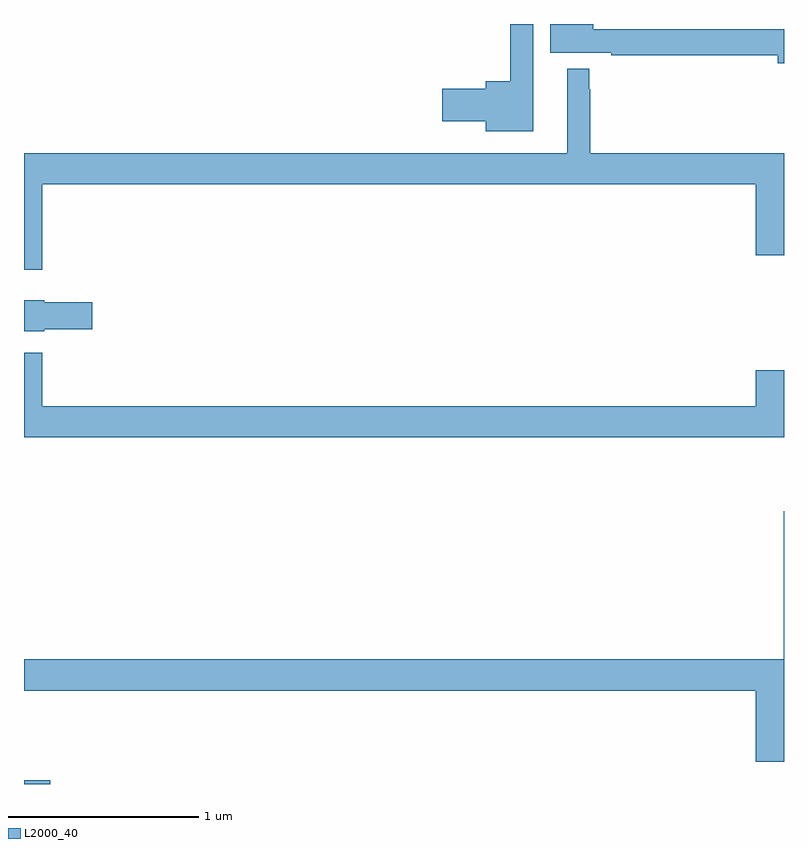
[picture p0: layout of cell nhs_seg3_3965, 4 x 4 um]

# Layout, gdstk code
import gdstk
lib = gdstk.Library(unit=1e-6, precision=1e-09)
def R(c, l, rs):  # rectangles x0, y0, x1, y1
    for r in rs: c.add(gdstk.rectangle(r[:2], r[2:], *l))
def P(c, l, *ps):  # polygons
    for p in ps: c.add(gdstk.Polygon(p, *l))
L2000_40 = (2000, 40)

nhs_seg3_3965 = lib.new_cell('nhs_seg3_3965')
R(nhs_seg3_3965, L2000_40, [(317,724.4,317.137,724.419)])
P(nhs_seg3_3965, L2000_40, [(319.681,728.4),(319.56,728.4),(319.56,728.098),(319.43,728.098),(319.43,728.06),(319.2,728.06),(319.2,727.889),(319.43,727.889),(319.43,727.835),(319.681,727.835)],
  [(321,728.372),(319.996,728.372),(319.996,728.4),(319.769,728.4),(319.769,728.249),(320.092,728.249),(320.092,728.236),(320.966,728.236),(320.966,728.194),(321,728.194)],
  [(317.095,727.556),(320.852,727.556),(320.852,727.182),(321,727.182),(321,727.72),(319.981,727.72),(319.981,728.057),(319.974,728.057),(319.974,728.164),(319.859,728.164),(319.859,727.72),(317,727.72),(317,727.107),(317.095,727.107)],
  [(317.106,726.793),(317.359,726.793),(317.359,726.935),(317.106,726.935),(317.106,726.946),(317,726.946),(317,726.782),(317.106,726.782)],
  [(321,726.577),(320.852,726.577),(320.852,726.388),(317.095,726.388),(317.095,726.67),(317,726.67),(317,726.224),(321,726.224)],
  [(321,725.836),(320.999,725.836),(320.999,725.056),(317,725.056),(317,724.892),(320.852,724.892),(320.852,724.518),(321,724.518)])

lib.write_gds('nhs_seg3_3965.gds')
